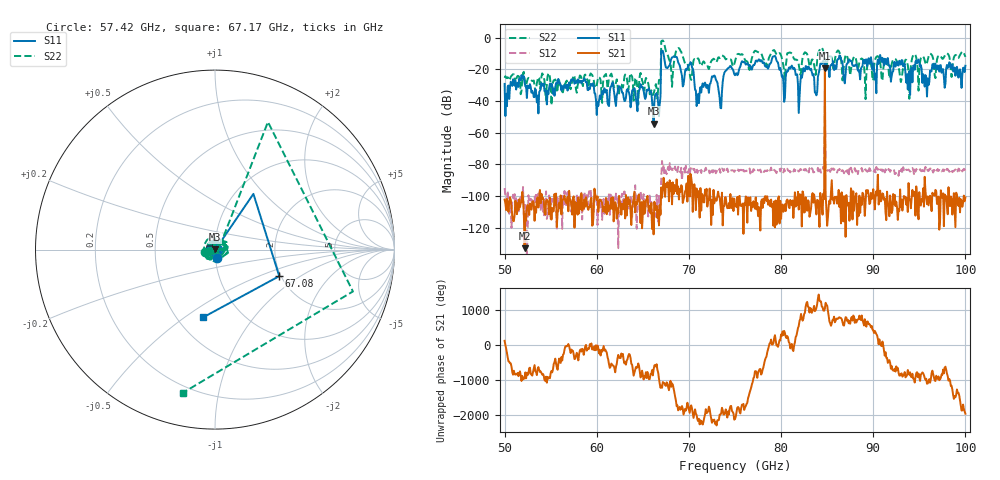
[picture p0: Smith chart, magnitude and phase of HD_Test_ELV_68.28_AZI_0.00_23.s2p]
! 11/25/2026 9:18:49 AM
! C:\ANRITSUVNA\TEMP\TEMP.S2P
! CHANNEL.1
! TR.MEASUREMENT
! RAW.DATA
# HZ S RI R 50.0
! FREQ.HZ  S11RE  S11IM  S21RE  S21IM  S12RE  S12IM  S22RE  S22IM
!; PortSelection: Port_12
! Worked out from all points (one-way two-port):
!   601 points, 50 GHz to 100 GHz, reference 50 ohm
!   highest |S21| = -19.24 dB at 84.75 GHz (marker M1); lowest = -133.0 dB at 52.17 GHz (marker M2)
!   lowest |S11| = -54.3 dB at 66.17 GHz (marker M3), VSWR 1.00, Z = 50.1 + j0.152 ohm
!   |S11| at or under -10 dB: start of sweep to 67 GHz; 67.24 GHz to end of sweep
!   |S22| runs from -42.6 to -1.8 dB; largest |S21 - S12| = 0.099
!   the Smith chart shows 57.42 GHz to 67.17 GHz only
!   S11 on the Smith chart (normalised r, x): 57.42 GHz: 1.02, -0.09; 67.08 GHz: 1.96, -0.68; 67.17 GHz: 0.67, -0.59
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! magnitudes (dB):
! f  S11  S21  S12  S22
! 50 GHz  -29.2  -102.4  -95.1  -25.3
! 52.17 GHz  -28.3  -133.0  -105.6  -25.3
! 53.42 GHz  -35.0  -110.6  -97.9  -32.2
! 57.42 GHz  -26.3  -101.5  -104.6  -25.2
! 58.42 GHz  -27.2  -109.3  -114.9  -29.0
! 60.17 GHz  -43.2  -110.2  -103.2  -24.8
! 66.17 GHz  -54.3  -124.3  -106.7  -35.4
! 66.67 GHz  -41.9  -108.7  -116.2  -32.1
! 67.08 GHz  -8.2  -101.2  -77.9  -1.9
! 67.17 GHz  -8.3  -95.8  -83.7  -1.8
! 70.17 GHz  -15.5  -86.1  -83.5  -25.7
! 70.92 GHz  -40.7  -100.4  -85.5  -13.3
! 75 GHz  -23.7  -106.0  -84.0  -15.0
! 79.25 GHz  -11.8  -103.5  -83.7  -7.9
! 80.25 GHz  -27.6  -110.0  -85.2  -17.7
! 83.42 GHz  -23.8  -98.2  -83.2  -13.8
! 84.75 GHz  -18.1  -19.2  -40.0  -11.6
! 91.67 GHz  -16.7  -105.8  -82.9  -20.5
! 93.75 GHz  -32.7  -110.2  -83.5  -17.3
! 94.83 GHz  -15.0  -109.5  -82.9  -20.3
! 95.83 GHz  -37.2  -105.2  -83.3  -15.9
! 100 GHz  -17.7  -100.9  -84.4  -12.2
